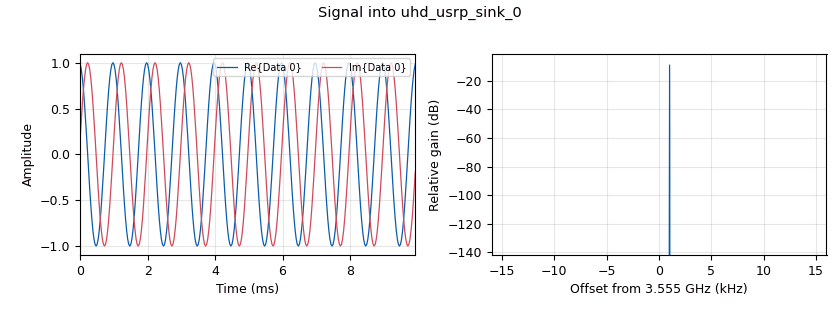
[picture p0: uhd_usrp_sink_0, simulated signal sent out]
options:
  parameters:
    author: jasv22
    generate_options: qt_gui
    id: testTXRX
    output_language: python
    title: Not titled yet
  states: {}

blocks:
- name: freq
  id: variable
  parameters:
    value: '3555000000'
  states: {}
- name: gain_RX
  id: variable_qtgui_range
  parameters:
    orient: Qt.Horizontal
    start: '-31'
    step: '1'
    stop: '76'
    value: '31'
  states: {}
- name: gain_TX
  id: variable_qtgui_range
  parameters:
    orient: Qt.Horizontal
    start: '-31'
    step: '1'
    stop: '89'
    value: '31'
  states: {}
- name: samp_rate
  id: variable
  parameters:
    value: '32000'
  states: {}
- name: analog_sig_source_x_0
  id: analog_sig_source_x
  parameters:
    amp: '1'
    freq: '1000'
    offset: '0'
    phase: '0'
    samp_rate: samp_rate
    type: complex
    waveform: analog.GR_COS_WAVE
  states: {}
- name: blocks_file_sink_0
  id: blocks_file_sink
  parameters:
    file: test.iq
    type: complex
  states: {}
- name: qtgui_freq_sink_x_0
  id: qtgui_freq_sink_x
  parameters:
    bw: samp_rate
    fc: '0'
    fftsize: '1024'
    type: complex
    wintype: firdes.WIN_BLACKMAN_hARRIS
  states: {state: disabled}
- name: qtgui_time_sink_x_0
  id: qtgui_time_sink_x
  parameters:
    size: '1024'
    srate: samp_rate
    type: complex
  states: {state: disabled}
- name: uhd_usrp_sink_0
  id: uhd_usrp_sink
  parameters:
    ant0: TX/RX
    center_freq0: freq
    clock_rate: 30.72e6
    dev_args: '""'
    gain0: gain_TX
    len_tag_name: ''
    norm_gain0: 'False'
    samp_rate: samp_rate
    sync: sync
    type: fc32
  states: {}
- name: uhd_usrp_source_0
  id: uhd_usrp_source
  parameters:
    ant0: RX2
    center_freq0: freq
    dc_offs_enb0: '""'
    dev_args: '""'
    gain0: gain_RX
    iq_imbal_enb0: '""'
    norm_gain0: 'False'
    samp_rate: samp_rate
    sync: none
    type: fc32
  states: {}

connections:
- [analog_sig_source_x_0, '0', uhd_usrp_sink_0, '0']
- [uhd_usrp_source_0, '0', blocks_file_sink_0, '0']
- [uhd_usrp_source_0, '0', qtgui_freq_sink_x_0, '0']
- [uhd_usrp_source_0, '0', qtgui_time_sink_x_0, '0']

metadata:
  file_format: 1
